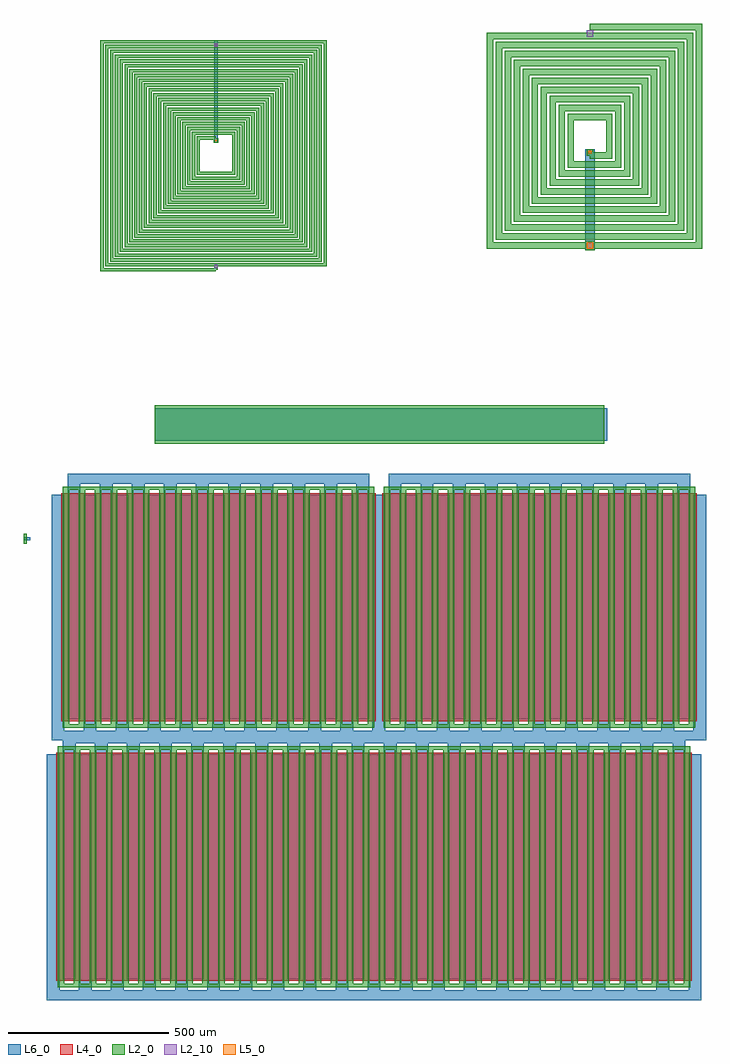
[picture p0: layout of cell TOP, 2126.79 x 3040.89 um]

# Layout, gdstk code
from math import pi, radians
import gdstk
lib = gdstk.Library(unit=1e-6, precision=1e-09)
def R(c, l, rs):  # rectangles x0, y0, x1, y1
    for r in rs: c.add(gdstk.rectangle(r[:2], r[2:], *l))
def A(c, l, x, y, w, h, nx, ny, dx, dy):  # array of equal rectangles
    R(c, l, [(x+i*dx, y+j*dy, x+i*dx+w, y+j*dy+h) for i in range(nx) for j in range(ny)])
def P(c, l, *ps):  # polygons
    for p in ps: c.add(gdstk.Polygon(p, *l))
L2_0 = (2, 0)
L2_10 = (2, 10)
L4_0 = (4, 0)
L5_0 = (5, 0)
L6_0 = (6, 0)

ind_igzo = lib.new_cell('ind_igzo')
R(ind_igzo, L2_0, [(-355,-15,-325,15), (-60,-10,-40,10)])
P(ind_igzo, L2_0, [(-350,-350),(-350,322),(322,322),(322,-322),(-322,-322),(-322,294),(294,294),(294,-294),(-294,-294),(-294,266),(266,266),(266,-266),(-266,-266),(-266,238),(238,238),(238,-238),(-238,-238),(-238,210),(210,210),(210,-210),(-210,-210),(-210,182),(182,182),(182,-182),(-182,-182),(-182,154),(154,154),(154,-154),(-154,-154),(-154,126),(126,126),(126,-126),(-126,-126),(-126,98),(98,98),(98,-98),(-98,-98),(-98,70),(70,70),(70,-70),(-70,-70),(-70,0),(-50,0),(-50,-50),(50,-50),(50,50),(-78,50),(-78,-78),(78,-78),(78,78),(-106,78),(-106,-106),(106,-106),(106,106),(-134,106),(-134,-134),(134,-134),(134,134),(-162,134),(-162,-162),(162,-162),(162,162),(-190,162),(-190,-190),(190,-190),(190,190),(-218,190),(-218,-218),(218,-218),(218,218),(-246,218),(-246,-246),(246,-246),(246,246),(-274,246),(-274,-274),(274,-274),(274,274),(-302,274),(-302,-302),(302,-302),(302,302),(-330,302),(-330,-330),(330,-330),(330,0),(350,0),(350,-350)])
R(ind_igzo, L2_10, [(-350,-10,-330,10), (310,-10,330,10)])
R(ind_igzo, L5_0, [(-350,-10,-330,10), (-55,-5,-45,5)])
R(ind_igzo, L6_0, [(-355,-15,-40,15)])
ind_igzo.add(gdstk.Label('A', (320,0), layer=2, texttype=10))
ind_igzo.add(gdstk.Label('B', (-340,0), layer=2, texttype=10))
ind_igzo.add(gdstk.Label('ind_igzo 36.33nH / 10.08Ohm @ 100MHz / Q 2.27', (0,-400), layer=63, texttype=0))

tft_igzo = lib.new_cell('tft_igzo')
A(tft_igzo, L2_0, -485, -365, 20, 730, 20, 1, 50, 0)
R(tft_igzo, L2_0, [(-485,-375,485,-365), (-485,365,485,375)])
R(tft_igzo, L4_0, [(-490,-355,490,355)])
A(tft_igzo, L6_0, -520, -400, 40, 50, 11, 1, 100, 0)
A(tft_igzo, L6_0, -520, -350, 40, 700, 21, 1, 50, 0)
A(tft_igzo, L6_0, -470, 350, 40, 50, 10, 1, 100, 0)
R(tft_igzo, L6_0, [(-520,-415,520,-385), (-470,385,470,415)])

cap_mim_3 = lib.new_cell('cap_mim$3')
R(cap_mim_3, L2_0, [(-60,-700,60,700)])
R(cap_mim_3, L6_0, [(-50,-710,50,700)])
cap_mim_3.add(gdstk.Label('cap_mim 219pF', (0,0), layer=63, texttype=0))

ind_igzo_2 = lib.new_cell('ind_igzo$2')
R(ind_igzo_2, L2_0, [(-55,-7.5,-40,7.5), (-350,-5,-340,5), (345,-5,355,5)])
P(ind_igzo_2, L2_0, [(-360,-360),(-360,345),(345,345),(345,-345),(-345,-345),(-345,330),(330,330),(330,-330),(-330,-330),(-330,315),(315,315),(315,-315),(-315,-315),(-315,300),(300,300),(300,-300),(-300,-300),(-300,285),(285,285),(285,-285),(-285,-285),(-285,270),(270,270),(270,-270),(-270,-270),(-270,255),(255,255),(255,-255),(-255,-255),(-255,240),(240,240),(240,-240),(-240,-240),(-240,225),(225,225),(225,-225),(-225,-225),(-225,210),(210,210),(210,-210),(-210,-210),(-210,195),(195,195),(195,-195),(-195,-195),(-195,180),(180,180),(180,-180),(-180,-180),(-180,165),(165,165),(165,-165),(-165,-165),(-165,150),(150,150),(150,-150),(-150,-150),(-150,135),(135,135),(135,-135),(-135,-135),(-135,120),(120,120),(120,-120),(-120,-120),(-120,105),(105,105),(105,-105),(-105,-105),(-105,90),(90,90),(90,-90),(-90,-90),(-90,75),(75,75),(75,-75),(-75,-75),(-75,60),(60,60),(60,-60),(-60,-60),(-60,0),(-50,0),(-50,-50),(50,-50),(50,50),(-65,50),(-65,-65),(65,-65),(65,65),(-80,65),(-80,-80),(80,-80),(80,80),(-95,80),(-95,-95),(95,-95),(95,95),(-110,95),(-110,-110),(110,-110),(110,110),(-125,110),(-125,-125),(125,-125),(125,125),(-140,125),(-140,-140),(140,-140),(140,140),(-155,140),(-155,-155),(155,-155),(155,155),(-170,155),(-170,-170),(170,-170),(170,170),(-185,170),(-185,-185),(185,-185),(185,185),(-200,185),(-200,-200),(200,-200),(200,200),(-215,200),(-215,-215),(215,-215),(215,215),(-230,215),(-230,-230),(230,-230),(230,230),(-245,230),(-245,-245),(245,-245),(245,245),(-260,245),(-260,-260),(260,-260),(260,260),(-275,260),(-275,-275),(275,-275),(275,275),(-290,275),(-290,-290),(290,-290),(290,290),(-305,290),(-305,-305),(305,-305),(305,305),(-320,305),(-320,-320),(320,-320),(320,320),(-335,320),(-335,-335),(335,-335),(335,335),(-350,335),(-350,-350),(350,-350),(350,0),(360,0),(360,-360)],
  [(345,0),(345,0),(345,0),(345,0)],
  [(-345,0),(-345,0),(-345,0),(-345,0)])
R(ind_igzo_2, L2_10, [(-350,-5,-340,5), (340,-5,350,5)])
R(ind_igzo_2, L5_0, [(-50,-2.5,-45,2.5)])
P(ind_igzo_2, L5_0, [(-345,0),(-345,0),(-345,0),(-345,0)])
R(ind_igzo_2, L6_0, [(-360,-5,-40,5)])
ind_igzo_2.add(gdstk.Label('A', (345,0), layer=2, texttype=10))
ind_igzo_2.add(gdstk.Label('B', (-345,0), layer=2, texttype=10))
ind_igzo_2.add(gdstk.Label('ind_igzo 152.1nH / 1.626kOhm @ 100MHz / Q 0.06', (0,-385), layer=63, texttype=0))

tft_igzo_1 = lib.new_cell('tft_igzo$1')
A(tft_igzo_1, L2_0, -985, -365, 20, 730, 40, 1, 50, 0)
R(tft_igzo_1, L2_0, [(-985,-375,985,-365), (-985,365,985,375)])
R(tft_igzo_1, L4_0, [(-990,-355,990,355)])
A(tft_igzo_1, L6_0, -1020, -400, 40, 50, 21, 1, 100, 0)
A(tft_igzo_1, L6_0, -1020, -350, 40, 700, 41, 1, 50, 0)
A(tft_igzo_1, L6_0, -970, 350, 40, 50, 20, 1, 100, 0)
R(tft_igzo_1, L6_0, [(-1020,-415,1020,-385), (-970,385,970,415)])

cap_mim = lib.new_cell('cap_mim')
R(cap_mim, L2_0, [(-15,-5,15,5)])
R(cap_mim, L6_0, [(-5,-15,5,5)])
cap_mim.add(gdstk.Label('cap_mim 156.4fF', (0,0), layer=63, texttype=0))

top = lib.new_cell('TOP')
top.add(gdstk.Reference(ind_igzo, (660.09,538.76), rotation=pi/2))
top.add(gdstk.Reference(tft_igzo, (502.51,-928.14)))
top.add(gdstk.Reference(tft_igzo, (-497.52,-928.14)))
top.add(gdstk.Reference(cap_mim_3, (3.81,-359.02), rotation=pi/2))
top.add(gdstk.Reference(ind_igzo_2, (-505.13,478.46), rotation=3*pi/2))
top.add(gdstk.Reference(tft_igzo_1, (-12.71,-1737.13)))
top.add(gdstk.Reference(cap_mim, (-1099.28,-715.03), rotation=pi/2))

lib.write_gds('TOP.gds')
